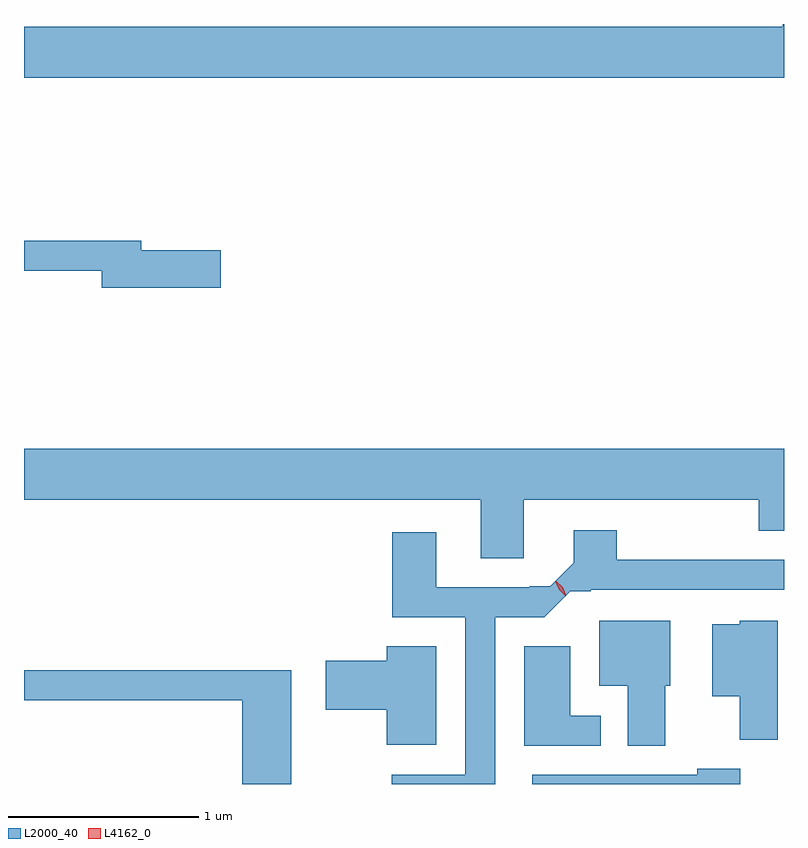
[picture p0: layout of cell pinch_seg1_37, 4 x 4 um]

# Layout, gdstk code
import gdstk
lib = gdstk.Library(unit=1e-6, precision=1e-09)
def P(c, l, *ps):  # polygons
    for p in ps: c.add(gdstk.Polygon(p, *l))
L2000_40 = (2000, 40)
L4162_0 = (4162, 0)

pinch_seg1_37 = lib.new_cell('pinch_seg1_37')
P(pinch_seg1_37, L2000_40, [(1404.338,873.219),(1404.331,873.219),(1404.331,873.204),(1400.338,873.204),(1400.338,872.936),(1404.338,872.936)],
  [(1401.374,872.029),(1400.954,872.029),(1400.954,872.079),(1400.338,872.079),(1400.338,871.921),(1400.746,871.921),(1400.746,871.831),(1401.374,871.831)],
  [(1402.969,870.716),(1404.206,870.716),(1404.206,870.551),(1404.338,870.551),(1404.338,870.984),(1400.338,870.984),(1400.338,870.716),(1402.741,870.716),(1402.741,870.406),(1402.969,870.406)],
  [(1402.819,870.096),(1403.077,870.096),(1403.214,870.233),(1403.322,870.233),(1403.322,870.241),(1404.338,870.241),(1404.338,870.399),(1403.459,870.399),(1403.459,870.554),(1403.231,870.554),(1403.231,870.384),(1403.107,870.26),(1403.001,870.26),(1403.001,870.254),(1402.509,870.254),(1402.509,870.544),(1402.276,870.544),(1402.276,870.096),(1402.661,870.096),(1402.661,869.269),(1402.273,869.269),(1402.273,869.219),(1402.819,869.219)],
  [(1404.304,870.079),(1404.106,870.079),(1404.106,870.059),(1403.961,870.059),(1403.961,869.681),(1404.106,869.681),(1404.106,869.451),(1404.304,869.451)],
  [(1403.714,869.736),(1403.739,869.736),(1403.739,870.079),(1403.366,870.079),(1403.366,869.736),(1403.516,869.736),(1403.516,869.421),(1403.714,869.421)],
  [(1402.509,869.944),(1402.246,869.944),(1402.246,869.869),(1401.926,869.869),(1401.926,869.611),(1402.246,869.611),(1402.246,869.426),(1402.509,869.426)],
  [(1403.373,869.579),(1403.214,869.579),(1403.214,869.944),(1402.971,869.944),(1402.971,869.421),(1403.373,869.421)],
  [(1401.744,869.819),(1400.338,869.819),(1400.338,869.661),(1401.486,869.661),(1401.486,869.219),(1401.744,869.219)],
  [(1404.109,869.299),(1403.881,869.299),(1403.881,869.269),(1403.013,869.269),(1403.013,869.219),(1404.109,869.219)])
P(pinch_seg1_37, L4162_0, [(1403.189,870.206),(1403.188,870.207),(1403.154,870.241),(1403.135,870.285),(1403.135,870.286),(1403.136,870.286),(1403.17,870.252),(1403.189,870.207)],
  [(1403.189,870.213),(1403.188,870.214),(1403.157,870.243),(1403.142,870.284),(1403.142,870.285),(1403.143,870.284),(1403.174,870.254),(1403.189,870.214)])

lib.write_gds('pinch_seg1_37.gds')
